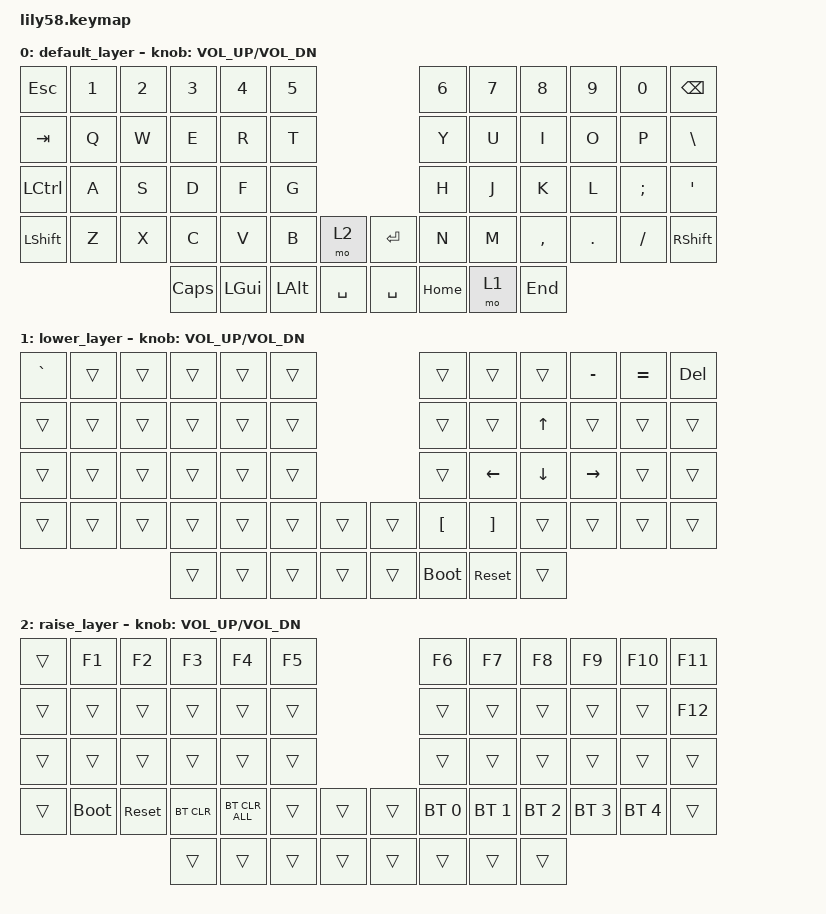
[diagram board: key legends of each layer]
/*
 * Copyright (c) 2020 The ZMK Contributors
 *
 * SPDX-License-Identifier: MIT
 */

#include <behaviors.dtsi>
#include <dt-bindings/zmk/keys.h>
#include <dt-bindings/zmk/bt.h>
#include <dt-bindings/zmk/ext_power.h>

/ {
    keymap {
        compatible = "zmk,keymap";

        default_layer {
// ------------------------------------------------------------------------------------------------------------
// |  ESC  |  1  |  2  |  3   |  4   |  5   |                   |  6   |  7    |  8    |  9   |   0   | BackSP|
// |  Tab  |  Q  |  W  |  E   |  R   |  T   |                   |  Y   |  U    |  I    |  O   |   P   |   \   |
// | LCTRL |  A  |  S  |  D   |  F   |  G   |                   |  H   |  J    |  K    |  L   |   ;   |   '   |
// | LShift|  Z  |  X  |  C   |  V   |  B   |   RAISE  |  |Enter|  N   |  M    |  ,    |  .   |   /   | RShift|
//                     | CAPS | LGUI | ALT  |  Space   |  |Space| HOME | LOWER |  END  |
            bindings = <
&kp ESC   &kp N1 &kp N2 &kp N3   &kp N4   &kp N5                     &kp N6 &kp N7   &kp N8    &kp N9  &kp N0   &kp BSPC
&kp TAB   &kp Q  &kp W  &kp E    &kp R    &kp T                      &kp Y  &kp U    &kp I     &kp O   &kp P    &kp BSLH
&kp LCTRL &kp A  &kp S  &kp D    &kp F    &kp G                      &kp H  &kp J    &kp K     &kp L   &kp SEMI &kp SQT
&kp LSHFT &kp Z  &kp X  &kp C    &kp V    &kp B  &mo 2     &kp ENTER &kp N  &kp M    &kp COMMA &kp DOT &kp FSLH &kp RSHFT
                        &kp CAPS &kp LGUI &kp LALT &kp SPACE &kp SPACE &kp HOME &mo 1    &kp END
            >;

            sensor-bindings = <&inc_dec_kp C_VOL_UP C_VOL_DN>;
        };

        lower_layer {
// ------------------------------------------------------------------------------------------------------------
// |   ~   |     |     |      |      |      |                   |      |       |       |  -   |   =   | DELETE|
// |       |     |     |      |      |      |                   |      |       |   UP  |      |       |       |
// |       |     |     |      |      |      |                   |      | LEFT  |  DOWN |RIGHT |       |       |
// |       |     |     |      |      |      |        |  |       |  [   |   ]   |       |      |       |       |
//                     |      |      |      |        |  |       | boot | reset |       |
            bindings = <
&kp GRAVE &trans &trans &trans &trans &trans                     &trans    &trans    &trans   &kp MINUS &kp EQUAL &kp DEL
&trans    &trans &trans &trans &trans &trans                     &trans    &trans    &kp UP   &trans    &trans    &trans
&trans    &trans &trans &trans &trans &trans                     &trans    &kp LEFT  &kp DOWN &kp RIGHT &trans    &trans
&trans    &trans &trans &trans &trans &trans  &trans   &trans    &kp LBKT  &kp RBKT  &trans   &trans    &trans    &trans
                        &trans &trans &trans  &trans   &trans    &bootloader &sys_reset &trans
            >;

            sensor-bindings = <&inc_dec_kp C_VOL_UP C_VOL_DN>;
        };

        raise_layer {
// ------------------------------------------------------------------------------------------------------------
// |       |  F1 |  F2 |  F3  |  F4  |  F5  |                   |  F6  |  F7   |  F8   |  F9  |  F10  |  F11  |
// |       |     |     |      |      |      |                   |      |       |       |      |       |  F12  |
// |       |     |     |      |      |      |                   |      |       |       |      |       |       |
// |       | boot|reset|bt_clr|bt_all|      |        |  |       | bt_0 | bt_1  | bt_2  | bt_3 | bt_4  |       |
//                     |      |      |      |        |  |       |      |       |       |
            bindings = <
&trans    &kp F1      &kp F2      &kp F3     &kp F4         &kp F5                       &kp F6       &kp F7       &kp F8       &kp F9       &kp F10      &kp F11
&trans    &trans      &trans      &trans     &trans         &trans                       &trans       &trans       &trans       &trans       &trans       &kp F12
&trans    &trans      &trans      &trans     &trans         &trans                       &trans       &trans       &trans       &trans       &trans       &trans
&trans    &bootloader &sys_reset  &bt BT_CLR &bt BT_CLR_ALL &trans    &trans   &trans    &bt BT_SEL 0 &bt BT_SEL 1 &bt BT_SEL 2 &bt BT_SEL 3 &bt BT_SEL 4 &trans
                                  &trans     &trans         &trans    &trans   &trans    &trans       &trans       &trans
            >;

            sensor-bindings = <&inc_dec_kp C_VOL_UP C_VOL_DN>;
        };
    };
};
